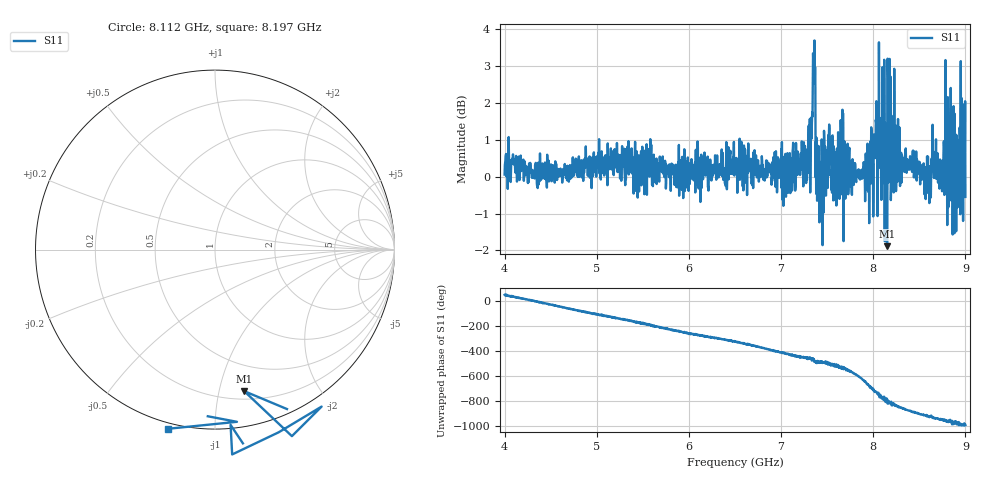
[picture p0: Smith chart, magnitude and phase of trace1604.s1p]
! Created with skrf 1.8.0 (http://scikit-rf.org).
# Hz S RI R 50.0
!freq ReS11 ImS11
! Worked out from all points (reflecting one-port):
!   1601 points, 4 GHz to 9 GHz, reference 50 ohm
!   lowest |S11| = -1.9 dB at 8.15 GHz (marker M1), VSWR 9.26, Z = 13.3 - j59.6 ohm
!   phase of S11 starts at 52 deg and turns -1042 deg over the sweep
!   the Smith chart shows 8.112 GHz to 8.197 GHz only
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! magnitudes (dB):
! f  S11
! 4 GHz  0.1
! 4.625 GHz  -0.2
! 5.25 GHz  0.3
! 5.875 GHz  -0.3
! 6.5 GHz  0.5
! 7.125 GHz  0.7
! 7.294 GHz  0.3
! 7.347 GHz  3.3
! 7.369 GHz  3.0
! 7.4 GHz  -0.5
! 7.412 GHz  0.2
! 7.538 GHz  0.4
! 7.591 GHz  0.7
! 7.65 GHz  1.1
! 7.75 GHz  0.2
! 7.978 GHz  1.3
! 8.088 GHz  -0.6
! 8.15 GHz  -1.9
! 8.181 GHz  1.4
! 8.216 GHz  1.6
! 8.375 GHz  0.5
! 8.584 GHz  0.5
! 8.656 GHz  0.5
! 8.734 GHz  0.2
! 8.788 GHz  -0.3
! 8.875 GHz  1.0
! 8.972 GHz  0.2
! 9 GHz  -0.5
